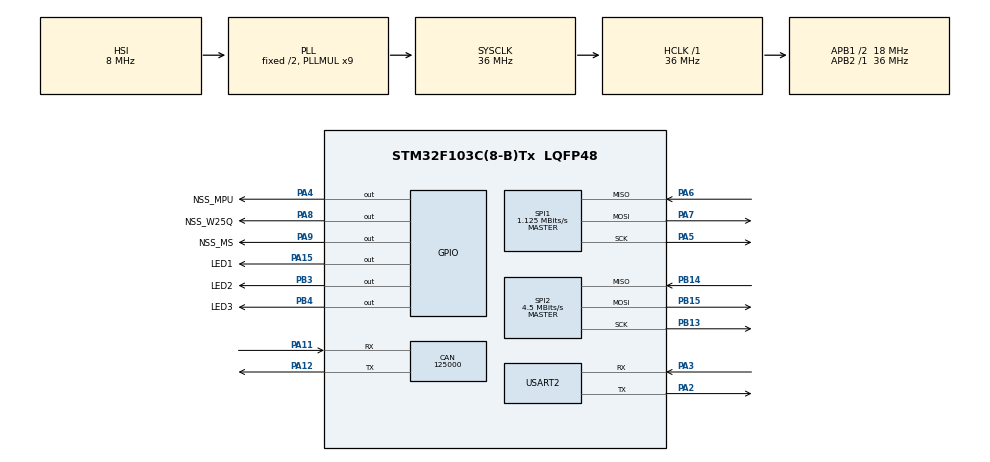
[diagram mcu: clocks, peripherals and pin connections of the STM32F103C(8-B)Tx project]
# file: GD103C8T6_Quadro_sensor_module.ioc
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CAN.BS1=CAN_BS1_7TQ
CAN.CalculateBaudRate=125000
CAN.CalculateTimeBit=8000
CAN.CalculateTimeQuantum=888.8888888888889
FREERTOS.Tasks01=defaultTask,24,128,StartDefaultTask,Default,NULL,Dynamic,NULL,NULL;MPUTask,24,256,StartMPUTask,Default,NULL,Dynamic,NULL,NULL
FREERTOS.configUSE_NEWLIB_REENTRANT=1
Mcu.Family=STM32F1
Mcu.Name=STM32F103C(8-B)Tx
Mcu.Package=LQFP48
NVIC.PriorityGroup=NVIC_PRIORITYGROUP_4
NVIC.SPI2_IRQn=true\:5\:0\:false\:false\:true\:true\:true\:true\:true
NVIC.TIM4_IRQn=true\:15\:0\:false\:false\:true\:false\:false\:true\:true
NVIC.TimeBase=TIM4_IRQn
NVIC.TimeBaseIP=TIM4
NVIC.USB_HP_CAN1_TX_IRQn=true\:5\:0\:false\:false\:true\:true\:true\:true\:true
NVIC.USB_LP_CAN1_RX0_IRQn=true\:5\:0\:false\:false\:true\:true\:true\:true\:true
PA11.Mode=CAN_Activate
PA11.Signal=CAN_RX
PA12.Mode=CAN_Activate
PA12.Signal=CAN_TX
PA13.Mode=Serial_Wire
PA13.Signal=SYS_JTMS-SWDIO
PA14.Mode=Serial_Wire
PA14.Signal=SYS_JTCK-SWCLK
PA15.GPIO_Label=LED1
PA15.Signal=GPIO_Output
PA2.Mode=Asynchronous
PA2.Signal=USART2_TX
PA3.Mode=Asynchronous
PA3.Signal=USART2_RX
PA4.GPIO_Label=NSS_MPU
PA4.Signal=GPIO_Output
PA5.Mode=Full_Duplex_Master
PA5.Signal=SPI1_SCK
PA6.Mode=Full_Duplex_Master
PA6.Signal=SPI1_MISO
PA7.Mode=Full_Duplex_Master
PA7.Signal=SPI1_MOSI
PA8.GPIO_Label=NSS_W25Q
PA8.Signal=GPIO_Output
PA9.GPIO_Label=NSS_MS
PA9.Signal=GPIO_Output
PB13.Mode=Full_Duplex_Master
PB13.Signal=SPI2_SCK
PB14.Mode=Full_Duplex_Master
PB14.Signal=SPI2_MISO
PB15.Mode=Full_Duplex_Master
PB15.Signal=SPI2_MOSI
PB3.GPIO_Label=LED2
PB3.Signal=GPIO_Output
PB4.GPIO_Label=LED3
PB4.Signal=GPIO_Output
PD0-OSC_IN.Mode=HSE-External-Oscillator
PD0-OSC_IN.Signal=RCC_OSC_IN
PD1-OSC_OUT.Mode=HSE-External-Oscillator
PD1-OSC_OUT.Signal=RCC_OSC_OUT
ProjectManager.HeapSize=0x200
ProjectManager.StackSize=0x400
ProjectManager.TargetToolchain=STM32CubeIDE
RCC.AHBFreq_Value=36000000
RCC.APB1CLKDivider=RCC_HCLK_DIV2
RCC.APB1Freq_Value=18000000
RCC.APB1TimFreq_Value=36000000
RCC.APB2Freq_Value=36000000
RCC.APB2TimFreq_Value=36000000
RCC.HCLKFreq_Value=36000000
RCC.PLLMUL=RCC_PLL_MUL9
RCC.SYSCLKFreq_VALUE=36000000
RCC.SYSCLKSource=RCC_SYSCLKSOURCE_PLLCLK
RCC.USBFreq_Value=36000000
SPI1.BaudRatePrescaler=SPI_BAUDRATEPRESCALER_32
SPI1.CalculateBaudRate=1.125 MBits/s
SPI1.Direction=SPI_DIRECTION_2LINES
SPI1.Mode=SPI_MODE_MASTER
SPI1.VirtualType=VM_MASTER
SPI2.BaudRatePrescaler=SPI_BAUDRATEPRESCALER_4
SPI2.CalculateBaudRate=4.5 MBits/s
SPI2.Direction=SPI_DIRECTION_2LINES
SPI2.Mode=SPI_MODE_MASTER
SPI2.VirtualType=VM_MASTER
USART2.VirtualMode=VM_ASYNC
VP_FREERTOS_VS_CMSIS_V2.Mode=CMSIS_V2
VP_SYS_VS_tim4.Mode=TIM4
board=custom

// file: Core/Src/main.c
/* USER CODE BEGIN Header */
/**
  ******************************************************************************
  * @file           : main.c
  * @brief          : Main program body
  ******************************************************************************
  * @attention
  *
  * Copyright (c) 2022 STMicroelectronics.
  * All rights reserved.
  *
  * This software is licensed under terms that can be found in the LICENSE file
  * in the root directory of this software component.
  * If no LICENSE file comes with this software, it is provided AS-IS.
  *
  ******************************************************************************
  */
/* USER CODE END Header */
#include "main.h"
#include "cmsis_os.h"
#include "can.h"
#include "spi.h"
#include "usart.h"
#include "gpio.h"

/* USER CODE BEGIN Includes */
#include "madgwickFilter.h"
#include "barometer.h"
#include "MPU9250.h"
#include <string.h>
#include <stdio.h>
/* USER CODE END Includes */

/* USER CODE BEGIN PV */
CAN_FilterTypeDef sFilterConfig;
CAN_TxHeaderTypeDef TxHeaderRoll;
CAN_TxHeaderTypeDef TxHeaderPitch;
CAN_TxHeaderTypeDef TxHeaderYaw;
CAN_TxHeaderTypeDef TxHeaderAccel;
CAN_TxHeaderTypeDef TxHeaderGyro;
CAN_TxHeaderTypeDef TxHeaderAltitude;
CAN_RxHeaderTypeDef RxHeader;
uint32_t TxMailbox = 0;
const uint32_t headerIdRoll = 0x11;
const uint32_t headerIdPitch = 0x12;
const uint32_t headerIdYaw = 0x13;
const uint32_t headerIdAccel = 0x14;
const uint32_t headerIdGyro = 0x15;
const uint32_t headerIdAltitude = 0x16;

/* USER CODE END PV */

void SystemClock_Config(void);
void MX_FREERTOS_Init(void);
/* USER CODE BEGIN PFP */
void ms5611_init();
void MS5611Begin();
uint8_t MPU9250_Init();
void MPU9250_calibrate();
void Barometer_calibrate();
/* USER CODE END PFP */

int main(void)
{

  /* MCU Configuration--------------------------------------------------------*/

  /* Reset of all peripherals, Initializes the Flash interface and the Systick. */
  HAL_Init();

  /* Configure the system clock */
  SystemClock_Config();

  /* USER CODE BEGIN SysInit */
  //
  /* USER CODE END SysInit */

  /* Initialize all configured peripherals */
  MX_GPIO_Init();
  MX_CAN_Init();
  MX_SPI1_Init();
  MX_SPI2_Init();
  MX_USART2_UART_Init();
  /* USER CODE BEGIN 2 */
  for (int i = 0; i < 5; ++i) {
//	HAL_GPIO_TogglePin(LED1_GPIO_Port, LED1_Pin);
//	HAL_GPIO_TogglePin(LED2_GPIO_Port, LED2_Pin);
//	HAL_GPIO_TogglePin(LED3_GPIO_Port, LED3_Pin);
	//HAL_Delay(500);
  }
  //ms5611_init();
  //Barometer_calibrate();
  MPU9250_calibrate();
  HAL_Delay(2000);
  MPU9250_Init();
  HAL_Delay(500);

  TxHeaderRoll.StdId = headerIdRoll;
  TxHeaderRoll.ExtId = 0;
  TxHeaderRoll.RTR = CAN_RTR_DATA; //CAN_RTR_REMOTE
  TxHeaderRoll.IDE = CAN_ID_STD;   // CAN_ID_EXT
  TxHeaderRoll.DLC = 8;
  TxHeaderRoll.TransmitGlobalTime = 0;

  TxHeaderPitch.StdId = headerIdPitch;
  TxHeaderPitch.ExtId = 0;
  TxHeaderPitch.RTR = CAN_RTR_DATA; //CAN_RTR_REMOTE
  TxHeaderPitch.IDE = CAN_ID_STD;   // CAN_ID_EXT
  TxHeaderPitch.DLC = 4;
  TxHeaderPitch.TransmitGlobalTime = 0;

  TxHeaderYaw.StdId = headerIdYaw;
  TxHeaderYaw.ExtId = 0;
  TxHeaderYaw.RTR = CAN_RTR_DATA; //CAN_RTR_REMOTE
  TxHeaderYaw.IDE = CAN_ID_STD;   // CAN_ID_EXT
  TxHeaderYaw.DLC = 4;
  TxHeaderYaw.TransmitGlobalTime = 0;

  TxHeaderAccel.StdId = headerIdAccel;
  TxHeaderAccel.ExtId = 0;
  TxHeaderAccel.RTR = CAN_RTR_DATA; //CAN_RTR_REMOTE
  TxHeaderAccel.IDE = CAN_ID_STD;   // CAN_ID_EXT
  TxHeaderAccel.DLC = 6;
  TxHeaderAccel.TransmitGlobalTime = 0;

  TxHeaderGyro.StdId = headerIdGyro;
  TxHeaderGyro.ExtId = 0;
  TxHeaderGyro.RTR = CAN_RTR_DATA; //CAN_RTR_REMOTE
  TxHeaderGyro.IDE = CAN_ID_STD;   // CAN_ID_EXT
  TxHeaderGyro.DLC = 6;
  TxHeaderGyro.TransmitGlobalTime = 0;

  TxHeaderAltitude.StdId = headerIdAltitude;
  TxHeaderAltitude.ExtId = 0;
  TxHeaderAltitude.RTR = CAN_RTR_DATA; //CAN_RTR_REMOTE
  TxHeaderAltitude.IDE = CAN_ID_STD;   // CAN_ID_EXT
  TxHeaderAltitude.DLC = 4;
  TxHeaderAltitude.TransmitGlobalTime = 0;

  sFilterConfig.FilterFIFOAssignment = CAN_FILTER_FIFO0;
  sFilterConfig.FilterIdHigh = 0;
  sFilterConfig.FilterIdLow = 0;
  sFilterConfig.FilterMaskIdHigh = 0;
  sFilterConfig.FilterMaskIdLow = 0;
  sFilterConfig.FilterScale = CAN_FILTERSCALE_32BIT;
  //sFilterConfig.FilterMode = CAN_FILTERMODE_IDLIST;
  sFilterConfig.FilterActivation = ENABLE;
  HAL_CAN_ConfigFilter(&hcan, &sFilterConfig);
  HAL_CAN_Start(&hcan);
  HAL_Delay(500);
  /* USER CODE END 2 */

  /* Init scheduler */
  osKernelInitialize();  /* Call init function for freertos objects (in freertos.c) */
  MX_FREERTOS_Init();

  /* Start scheduler */
  osKernelStart();

  /* We should never get here as control is now taken by the scheduler */
  /* Infinite loop */
  while (1)
  {

  }
}

void SystemClock_Config(void)
{
  RCC_OscInitTypeDef RCC_OscInitStruct = {0};
  RCC_ClkInitTypeDef RCC_ClkInitStruct = {0};

  /** Initializes the RCC Oscillators according to the specified parameters
  * in the RCC_OscInitTypeDef structure.
  */
  RCC_OscInitStruct.OscillatorType = RCC_OSCILLATORTYPE_HSI;
  RCC_OscInitStruct.HSIState = RCC_HSI_ON;
  RCC_OscInitStruct.HSICalibrationValue = RCC_HSICALIBRATION_DEFAULT;
  RCC_OscInitStruct.PLL.PLLState = RCC_PLL_ON;
  RCC_OscInitStruct.PLL.PLLSource = RCC_PLLSOURCE_HSI_DIV2;
  RCC_OscInitStruct.PLL.PLLMUL = RCC_PLL_MUL9;
  if (HAL_RCC_OscConfig(&RCC_OscInitStruct) != HAL_OK)
  {
    Error_Handler();
  }

  /** Initializes the CPU, AHB and APB buses clocks
  */
  RCC_ClkInitStruct.ClockType = RCC_CLOCKTYPE_HCLK|RCC_CLOCKTYPE_SYSCLK
                              |RCC_CLOCKTYPE_PCLK1|RCC_CLOCKTYPE_PCLK2;
  RCC_ClkInitStruct.SYSCLKSource = RCC_SYSCLKSOURCE_PLLCLK;
  RCC_ClkInitStruct.AHBCLKDivider = RCC_SYSCLK_DIV1;
  RCC_ClkInitStruct.APB1CLKDivider = RCC_HCLK_DIV2;
  RCC_ClkInitStruct.APB2CLKDivider = RCC_HCLK_DIV1;

  if (HAL_RCC_ClockConfig(&RCC_ClkInitStruct, FLASH_LATENCY_1) != HAL_OK)
  {
    Error_Handler();
  }
}

void HAL_TIM_PeriodElapsedCallback(TIM_HandleTypeDef *htim)
{
  if (htim->Instance == TIM4) {
    HAL_IncTick();
  }
}

void Error_Handler(void)
{
  __disable_irq();
  while (1)
  {
  }
}

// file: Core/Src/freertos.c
/* USER CODE BEGIN Header */
/**
  ******************************************************************************
  * File Name          : freertos.c
  * Description        : Code for freertos applications
  ******************************************************************************
  * @attention
  *
  * Copyright (c) 2022 STMicroelectronics.
  * All rights reserved.
  *
  * This software is licensed under terms that can be found in the LICENSE file
  * in the root directory of this software component.
  * If no LICENSE file comes with this software, it is provided AS-IS.
  *
  ******************************************************************************
  */
/* USER CODE END Header */

#include "FreeRTOS.h"
#include "task.h"
#include "main.h"
#include "cmsis_os.h"

/* USER CODE BEGIN Includes */
#include "madgwickFilter.h"
#include <cpp_main.hpp>
#include "MPU9250.h"
#include <string.h>
#include "usart.h"
#include "math.h"
#include "can.h"
/* USER CODE END Includes */

/* USER CODE BEGIN Variables */
extern CAN_TxHeaderTypeDef TxHeaderRoll;
extern CAN_TxHeaderTypeDef TxHeaderPitch;
extern CAN_TxHeaderTypeDef TxHeaderYaw;
extern CAN_TxHeaderTypeDef TxHeaderAccel;
extern CAN_TxHeaderTypeDef TxHeaderGyro;
extern CAN_TxHeaderTypeDef TxHeaderAltitude;
extern uint32_t TxMailbox;
volatile float mass[1000];
uint8_t can_data[8] = {0,};
uint8_t can_alt_data[8] = {0,};
char buffer[10];
float gyroX;
float gyroY;
float gyroZ;
float accelX;
float accelY;
float accelZ;
float gyroX_filtered;
float gyroY_filtered;
float gyroZ_filtered;
float accelX_filtered;
float accelY_filtered;
float accelZ_filtered;
float accelX_summ;
float accelY_summ;
float accelZ_summ;
float accelX_average;
float accelY_average;
float accelZ_average;
float gyroX_summ;
float gyroY_summ;
float gyroZ_summ;
float gyroX_average;
float gyroY_average;
float gyroZ_average;

float roll = 0.0, pitch = 0.0, yaw = 0.0;

float auxiliary_roll = 0.0, auxiliary_pitch = 0.0, auxiliary_yaw = 0.0;

uint8_t acc_data[8] = {0,};

uint8_t gyro_data[8] = {0,};

extern uint8_t _buffer[21];

extern uint16_t ii, packet_count, fifo_count;

uint32_t can = 0;

uint32_t gyroZ_drift = 0;

extern volatile float relativeAltitudeFiltered;
//uint8_t buffer[12];

int32_t gyro_bias[3]  = {0, 0, 0}, accel_bias[3] = {0, 0, 0};
int32_t accel_bias_reg[3] = {0, 0, 0};
uint32_t rawTemperature = 0;
uint32_t count = 0;
/* USER CODE END Variables */
/* Definitions for defaultTask */
osThreadId_t defaultTaskHandle;
const osThreadAttr_t defaultTask_attributes = {
  .name = "defaultTask",
  .stack_size = 128 * 4,
  .priority = (osPriority_t) osPriorityNormal,
};
/* Definitions for MPUTask */
osThreadId_t MPUTaskHandle;
const osThreadAttr_t MPUTask_attributes = {
  .name = "MPUTask",
  .stack_size = 256 * 4,
  .priority = (osPriority_t) osPriorityNormal,
};

/* USER CODE BEGIN FunctionPrototypes */
void Barometer_calculate();
uint32_t MS5611GetTemperature();
void MPU9250_GetData(int16_t* AccData, int16_t* MagData, int16_t* GyroData);
void MadgwickFilterRun(float g_x, float g_y, float g_z, float a_x, float a_y, float a_z);
/* USER CODE END FunctionPrototypes */

void StartDefaultTask(void *argument);
void StartMPUTask(void *argument);

void MX_FREERTOS_Init(void); /* (MISRA C 2004 rule 8.1) */

void MX_FREERTOS_Init(void) {

  /* Create the thread(s) */
  /* creation of defaultTask */
  defaultTaskHandle = osThreadNew(StartDefaultTask, NULL, &defaultTask_attributes);

  /* creation of MPUTask */
  MPUTaskHandle = osThreadNew(StartMPUTask, NULL, &MPUTask_attributes);

}

void StartDefaultTask(void *argument)
{
  /* USER CODE BEGIN StartDefaultTask */
  TickType_t xLastWakeTime;
  const TickType_t xFrequency = 50;
  xLastWakeTime = xTaskGetTickCount();
  /* Infinite loop */
  for(;;)
  {
//	Barometer_calculate();
//	memcpy(can_alt_data, &relativeAltitudeFiltered, 4);
//	if (HAL_CAN_AddTxMessage(&hcan, &TxHeaderAltitude, can_alt_data, &TxMailbox) == HAL_OK) {
//		HAL_GPIO_TogglePin(LED2_GPIO_Port, LED2_Pin);
//	}
	osDelay(1);
	vTaskDelayUntil(&xLastWakeTime, xFrequency);
  }
  /* USER CODE END StartDefaultTask */
}

void StartMPUTask(void *argument)
{
  /* USER CODE BEGIN StartMPUTask */
  TickType_t xLastWakeTime;
  const TickType_t xFrequency = 1;
  xLastWakeTime = xTaskGetTickCount();
  /* Infinite loop */
  for(;;)
  {
	int16_t AccData[3], GyroData[3], MagData[3];
	MPU9250_GetData(AccData, GyroData, MagData);
	accelX_average = accelX_filtered;
	accelY_average = accelY_filtered;
	accelZ_average = accelZ_filtered;
	gyroX_average = gyroX_filtered;
	gyroY_average = gyroY_filtered;
	//gyroZ_average = gyroZ_filtered;
	if (gyroZ_filtered > 0.03 || gyroZ_filtered < -0.03) {
		gyroZ_average = gyroZ_filtered;
		gyroZ_drift++;
	}
	else {
		gyroZ_average = 0;
	}
	MadgwickFilterRun(0, 0, gyroZ_average, 0, 0, 0);
	imu_filter_rp(accelX_average, accelY_average, accelZ_average, gyroX_average, gyroY_average, 0);

	imu_filter_y(accelX_average, accelY_average, accelZ_average, gyroX_average, gyroY_average, gyroZ_average);
	yaw = 0;
	q_est_rp.q4 = 0;
	eulerAngles(q_est_rp, &roll, &pitch, &yaw);
	eulerAngles(q_est_y, &auxiliary_roll, &auxiliary_pitch, &auxiliary_yaw);
//	mass[i] = accelY;
//	i++;
//	if (i == 999) {
//		i = 0;
//	}
//	sprintf(buffer, "%0.5f", roll);
//	buffer[8] = '\r';
//	buffer[9] = '\n';
//	HAL_UART_Transmit(&huart2, buffer, 10, HAL_MAX_DELAY);
//	//osDelay(1);
//	for (int i = 0; i < 10; ++i) {
//		buffer[i] = 0;
//	}
//	memcpy(can_data, &accelY_average, 4);
//	memcpy(&can_data[4], &accelX_average, 4);
//	if (HAL_CAN_AddTxMessage(&hcan, &TxHeaderRoll, can_data, &TxMailbox) == HAL_OK) {
//		HAL_GPIO_TogglePin(LED2_GPIO_Port, LED2_Pin);
//	}
//	osDelay(1);
//	memcpy(can_data, &accelZ_average, 4);
//	if (HAL_CAN_AddTxMessage(&hcan, &TxHeaderYaw, can_data, &TxMailbox) == HAL_OK) {
//		HAL_GPIO_TogglePin(LED2_GPIO_Port, LED2_Pin);
//	}

	memcpy(can_data, &roll, 4);
	memcpy(&can_data[4], &pitch, 4);
	if (HAL_CAN_AddTxMessage(&hcan, &TxHeaderRoll, can_data, &TxMailbox) == HAL_OK) {
		HAL_GPIO_TogglePin(LED2_GPIO_Port, LED2_Pin);
	}
	osDelay(1);
	memcpy(can_data, &auxiliary_yaw, 4);
	if (HAL_CAN_AddTxMessage(&hcan, &TxHeaderYaw, can_data, &TxMailbox) == HAL_OK) {
		HAL_GPIO_TogglePin(LED2_GPIO_Port, LED2_Pin);
	}
	count = HAL_GetTick();
	vTaskDelayUntil(&xLastWakeTime, xFrequency);
  }
  /* USER CODE END StartMPUTask */
}
